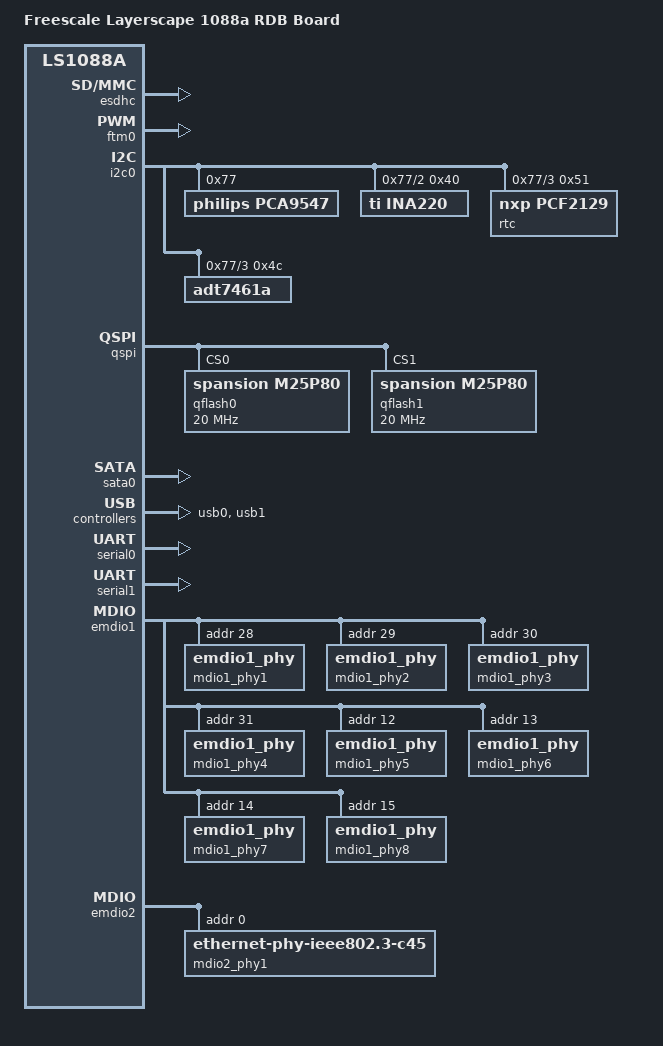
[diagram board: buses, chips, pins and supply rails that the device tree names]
/*
 * Device Tree file for Freescale LS1088a RDB board
 *
 * Copyright (C) 2015, Freescale Semiconductor
 *
 * This file is licensed under the terms of the GNU General Public
 * License version 2.  This program is licensed "as is" without any
 * warranty of any kind, whether express or implied.
 */

/dts-v1/;

#include "fsl-ls1088a.dtsi"

/ {
	model = "Freescale Layerscape 1088a RDB Board";
	compatible = "fsl,ls1088a-rdb", "fsl,ls1088a";
};

&esdhc {
	status = "okay";
};

&ifc {
	status = "disabled";
};

&ftm0 {
	status = "okay";
};

&i2c0 {
	status = "okay";
	pca9547@77 {
		compatible = "philips,pca9547";
		reg = <0x77>;
		#address-cells = <1>;
		#size-cells = <0>;

		i2c@2 {
			#address-cells = <1>;
			#size-cells = <0>;
			reg = <0x2>;

			ina220@40 {
				compatible = "ti,ina220";
				reg = <0x40>;
				shunt-resistor = <1000>;
			};
		};

		i2c@3 {
			#address-cells = <1>;
			#size-cells = <0>;
			reg = <0x3>;

			rtc@51 {
				compatible = "nxp,pcf2129";
				reg = <0x51>;
				/* IRQ10_B */
				interrupts = <0 150 0x4>;
			};

			adt7461a@4c {
				compatible = "adt7461a";
				reg = <0x4c>;
			};
		};
	};
};

&i2c1 {
	status = "disabled";
};

&i2c2 {
	status = "disabled";
};

&i2c3 {
	status = "disabled";
};

&dspi {
	status = "disabled";
};

&qspi {
	status = "okay";
	qflash0: s25fs512s@0 {
		compatible = "spansion,m25p80";
		#address-cells = <1>;
		#size-cells = <1>;
		spi-max-frequency = <20000000>;
		reg = <0>;
	};

	qflash1: s25fs512s@1 {
		compatible = "spansion,m25p80";
		#address-cells = <1>;
		#size-cells = <1>;
		spi-max-frequency = <20000000>;
		reg = <1>;
	};
};

&sata0 {
	status = "okay";
};

&usb0 {
	status = "okay";
};

&usb1 {
	status = "okay";
};

&serial0 {
	status = "okay";
};

&serial1 {
	status = "okay";
};

&emdio1 {
	/* Freescale F104 PHY1 */
	mdio1_phy1: emdio1_phy@1 {
		reg = <0x1c>;
		phy-connection-type = "qsgmii";
	};
	mdio1_phy2: emdio1_phy@2 {
		reg = <0x1d>;
		phy-connection-type = "qsgmii";
	};
	mdio1_phy3: emdio1_phy@3 {
		reg = <0x1e>;
		phy-connection-type = "qsgmii";
	};
	mdio1_phy4: emdio1_phy@4 {
		reg = <0x1f>;
		phy-connection-type = "qsgmii";
	};
	/* F104 PHY2 */
	mdio1_phy5: emdio1_phy@5 {
		reg = <0x0c>;
		phy-connection-type = "qsgmii";
	};
	mdio1_phy6: emdio1_phy@6 {
		reg = <0x0d>;
		phy-connection-type = "qsgmii";
	};
	mdio1_phy7: emdio1_phy@7 {
		reg = <0x0e>;
		phy-connection-type = "qsgmii";
	};
	mdio1_phy8: emdio1_phy@8 {
		reg = <0x0f>;
		phy-connection-type = "qsgmii";
	};
};

&emdio2 {
	/* Aquantia AQR105 10G PHY */
	mdio2_phy1: emdio2_phy@1 {
		compatible = "ethernet-phy-ieee802.3-c45";
		reg = <0x0>;
		phy-connection-type = "xfi";
	};
};

/* DPMAC connections to external PHYs
 * based on LS1088A RM RevC - $24.1.2 SerDes Options
 */
/* DPMAC1 is 10G SFP+, fixed link */
&dpmac2 {
	phy-handle = <&mdio2_phy1>;
};
&dpmac3 {
	phy-handle = <&mdio1_phy5>;
};
&dpmac4 {
	phy-handle = <&mdio1_phy6>;
};
&dpmac5 {
	phy-handle = <&mdio1_phy7>;
};
&dpmac6 {
	phy-handle = <&mdio1_phy8>;
};
&dpmac7 {
	phy-handle = <&mdio1_phy1>;
};
&dpmac8 {
	phy-handle = <&mdio1_phy2>;
};
&dpmac9 {
	phy-handle = <&mdio1_phy3>;
};
&dpmac10 {
	phy-handle = <&mdio1_phy4>;
};
